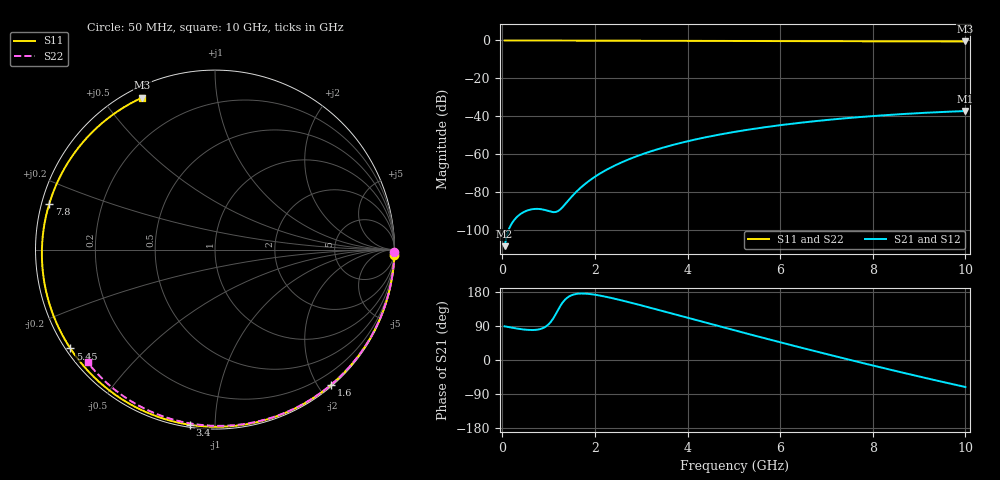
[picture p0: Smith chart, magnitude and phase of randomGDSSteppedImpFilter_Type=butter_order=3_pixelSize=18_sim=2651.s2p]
! freq	dB(S11)	phase(S11)	dB(S12)	phase(S12)
!  dB(S21)	phase(S21)	dB(S22)	phase(S22)
!S-par simulation data
#  GHz  S  DB  R 50
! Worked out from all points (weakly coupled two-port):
!   200 points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, 50 MHz to 10 GHz, reference 50 ohm
!   highest |S21| = -37.26 dB at 10 GHz (marker M1); lowest = -108.6 dB at 50 MHz (marker M2)
!   lowest |S11| = -0.5 dB at 10 GHz (marker M3), VSWR 31.74, Z = 2.2 + j31.5 ohm
!   |S11| at or under -10 dB: nowhere
!   |S22| runs from -0.5 to 0.0 dB; largest |S21 - S12| = 0
!   S11 on the Smith chart (normalised r, x): 50 MHz: 0, -72; 1.6 GHz: 0.02, -2.18; 3.4 GHz: 0.01, -0.87; 5.45 GHz: 0.01, -0.31; 7.8 GHz: 0.02, +0.13; 10 GHz: 0.04, +0.63
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0.05  -0.00 -1.6  -108.56 88.9  -108.56 88.9  -0.00 -0.8
0.4  -0.02 -12.6  -91.47 81.5  -91.47 81.5  -0.01 -6.4
0.8  -0.03 -25.1  -88.94 81.1  -88.94 81.1  -0.02 -12.7
1.2  -0.05 -37.3  -90.09 131.2  -90.09 131.2  -0.02 -19.0
1.6  -0.06 -49.2  -79.82 174.3  -79.82 174.3  -0.03 -25.3
1.75  -0.07 -53.6  -76.48 175.4  -76.48 175.4  -0.04 -27.6
2.05  -0.08 -62.2  -71.13 171.3  -71.13 171.3  -0.04 -32.3
2.45  -0.09 -73.4  -65.76 161.1  -65.76 161.1  -0.05 -38.4
2.9  -0.10 -85.4  -61.13 147.4  -61.13 147.4  -0.06 -45.1
3.4  -0.12 -98.2  -57.07 131.2  -57.07 131.2  -0.07 -52.5
3.75  -0.13 -106.9  -54.71 119.7  -54.71 119.7  -0.08 -57.6
4.15  -0.15 -116.4  -52.36 106.6  -52.36 106.6  -0.09 -63.4
4.6  -0.17 -126.8  -50.08 91.8  -50.08 91.8  -0.10 -69.7
5.05  -0.19 -136.9  -48.11 77.2  -48.11 77.2  -0.12 -76.0
5.45  -0.21 -145.6  -46.57 64.3  -46.57 64.3  -0.13 -81.4
6.1  -0.25 -159.5  -44.41 43.6  -44.41 43.6  -0.16 -90.1
6.7  -0.29 -172.2  -42.73 24.9  -42.73 24.9  -0.19 -97.8
7.25  -0.33 176.3  -41.41 8.1  -41.41 8.1  -0.22 -104.8
7.8  -0.37 164.7  -40.27 -8.5  -40.27 -8.5  -0.26 -111.7
8.35  -0.42 152.9  -39.30 -24.8  -39.30 -24.8  -0.30 -118.5
9.15  -0.48 135.2  -38.15 -47.8  -38.15 -47.8  -0.38 -128.2
10  -0.55 115.5  -37.26 -71.3  -37.26 -71.3  -0.47 -138.5
